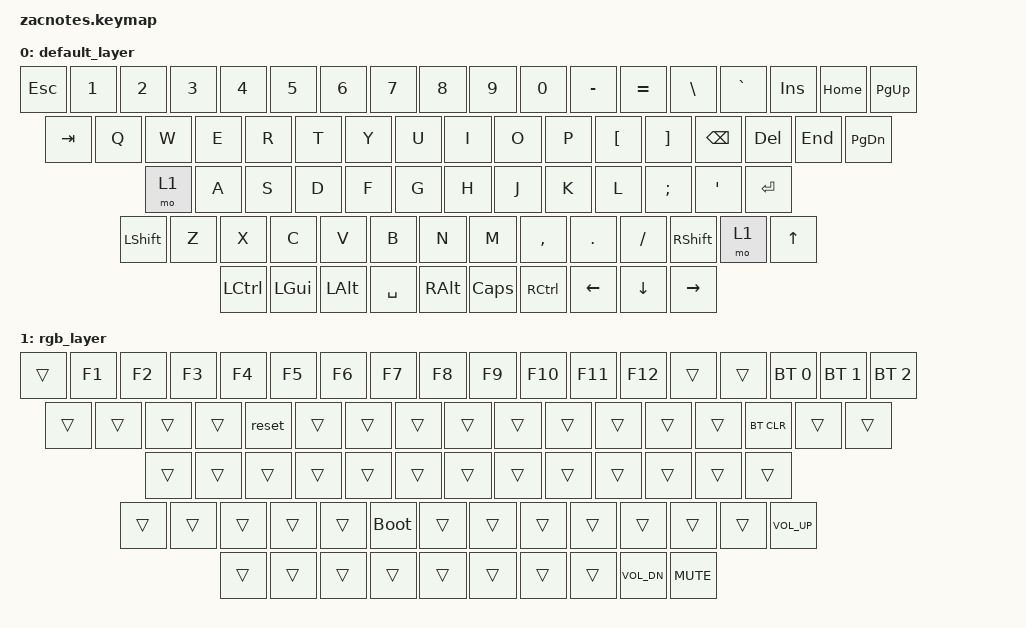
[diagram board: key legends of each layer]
#include <behaviors.dtsi>
#include <dt-bindings/zmk/keys.h>
#include <dt-bindings/zmk/bt.h>


/ {
    keymap {
        compatible = "zmk,keymap";

        default_layer {

            bindings = <
    &kp ESC    &kp N1    &kp N2    &kp N3     &kp N4     &kp N5     &kp N6     &kp N7     &kp N8     &kp N9     &kp N0    &kp MINUS    &kp EQUAL    &kp BACKSLASH    &kp GRAVE              &kp INSERT        &kp HOME         &kp PAGE_UP
    &kp TAB     &kp Q    &kp W    &kp E     &kp R     &kp T     &kp Y     &kp U     &kp I     &kp O     &kp P     &kp LEFT_BRACKET     &kp RIGHT_BRACKET     &kp BSPC             &kp DELETE        &kp END          &kp PAGE_DOWN
    &mo 1      	 &kp A    &kp S    &kp D     &kp F     &kp G     &kp H     &kp J     &kp K     &kp L     &kp SEMICOLON   &kp SINGLE_QUOTE     &kp RETURN
	&kp LEFT_SHIFT  &kp Z    &kp X    &kp C    &kp V    &kp B     &kp N     &kp M     &kp COMMA   &kp PERIOD    &kp SLASH    &kp RIGHT_SHIFT  &mo 1                                                 &kp UP_ARROW
	&kp LEFT_CONTROL    &kp LEFT_GUI    &kp LEFT_ALT    &kp SPACE    &kp RIGHT_ALT    &kp CAPSLOCK    &kp RIGHT_CONTROL                                                           &kp LEFT_ARROW    &kp DOWN_ARROW   &kp RIGHT_ARROW
            >;

        };
		
		rgb_layer {
		
			bindings = <
	&trans   &kp F1    &kp F2    &kp F3    &kp F4    &kp F5    &kp F6    &kp F7    &kp F8    &kp F9    &kp F10    &kp F11    &kp F12   &trans   &trans       &bt BT_SEL 0 &bt BT_SEL 1 &bt BT_SEL 2
	&trans   &trans    &trans    &trans    &reset    &trans    &trans    &trans    &trans    &trans    &trans    &trans    &trans    &trans                  &bt BT_CLR   &trans       &trans
	&trans    &trans    &trans    &trans    &trans    &trans    &trans    &trans    &trans    &trans    &trans    &trans    &trans
	&trans    &trans    &trans    &trans    &trans    &bootloader    &trans    &trans    &trans    &trans    &trans    &trans    &trans                                        &kp C_VOL_UP
	    &trans    &trans    &trans    &trans    &trans    &trans    &trans                                                                                   &trans       &kp C_VOL_DN &kp C_MUTE
			>;
		};
		
    };
};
